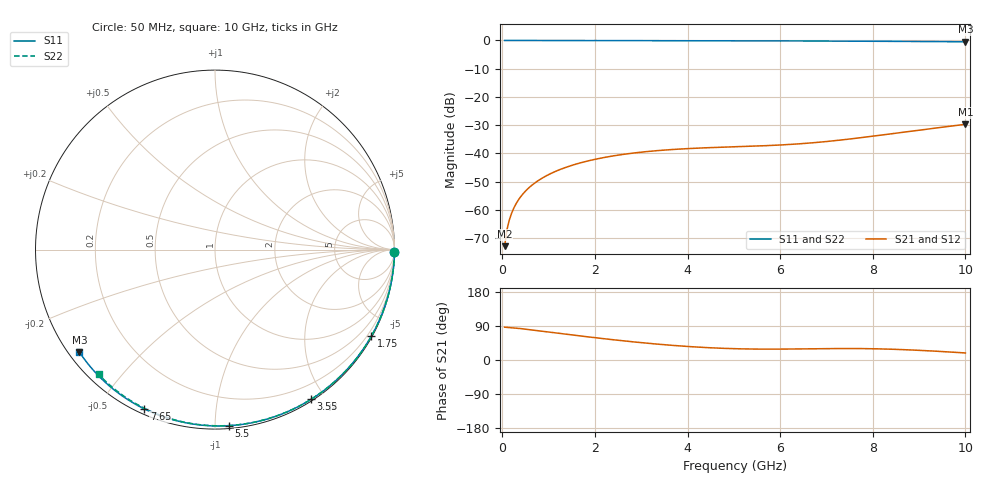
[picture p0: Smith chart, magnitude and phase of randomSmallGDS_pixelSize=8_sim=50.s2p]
! freq	dB(S11)	phase(S11)	dB(S12)	phase(S12)
!  dB(S21)	phase(S21)	dB(S22)	phase(S22)
!S-par simulation data
#  GHz  S  DB  R 50
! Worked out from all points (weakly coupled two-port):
!   200 points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, 50 MHz to 10 GHz, reference 50 ohm
!   highest |S21| = -29.72 dB at 10 GHz (marker M1); lowest = -72.9 dB at 50 MHz (marker M2)
!   lowest |S11| = -0.5 dB at 10 GHz (marker M3), VSWR 36.66, Z = 1.52 - j16.7 ohm
!   |S11| at or under -10 dB: nowhere
!   |S22| runs from -0.4 to 0.0 dB; largest |S21 - S12| = 0
!   S11 on the Smith chart (normalised r, x): 50 MHz: open; 1.75 GHz: 0.03, -3.86; 3.55 GHz: 0.02, -1.83; 5.5 GHz: 0.02, -1.08; 7.65 GHz: 0.02, -0.65; 10 GHz: 0.03, -0.33
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0.05  -0.00 -0.8  -72.90 86.6  -72.90 86.6  -0.00 -0.8
0.1  -0.00 -1.7  -67.14 86.1  -67.14 86.1  -0.00 -1.6
0.15  -0.00 -2.5  -63.71 85.8  -63.71 85.8  -0.00 -2.3
0.2  -0.00 -3.4  -61.26 85.4  -61.26 85.4  -0.00 -3.1
0.25  -0.00 -4.2  -59.35 84.8  -59.35 84.8  -0.00 -3.9
0.35  -0.00 -5.9  -56.46 83.5  -56.46 83.5  -0.00 -5.5
0.5  -0.01 -8.4  -53.40 81.4  -53.40 81.4  -0.01 -7.8
0.7  -0.01 -11.8  -50.53 78.4  -50.53 78.4  -0.01 -10.9
1  -0.02 -16.7  -47.54 73.8  -47.54 73.8  -0.02 -15.5
1.35  -0.03 -22.5  -45.10 68.4  -45.10 68.4  -0.03 -20.9
1.75  -0.04 -29.0  -43.10 62.5  -43.10 62.5  -0.03 -26.9
2.5  -0.05 -41.1  -40.64 52.1  -40.64 52.1  -0.05 -38.1
3.4  -0.07 -55.0  -38.97 41.3  -38.97 41.3  -0.07 -51.1
3.55  -0.08 -57.3  -38.78 39.8  -38.78 39.8  -0.07 -53.3
4.3  -0.10 -68.5  -38.10 33.5  -38.10 33.5  -0.09 -63.7
5.05  -0.12 -79.3  -37.66 29.7  -37.66 29.7  -0.11 -73.8
5.5  -0.14 -85.5  -37.41 28.8  -37.41 28.8  -0.13 -79.7
6.7  -0.20 -101.7  -36.27 29.7  -36.27 29.7  -0.18 -94.8
7.65  -0.26 -113.9  -34.64 30.2  -34.64 30.2  -0.24 -106.2
8.35  -0.31 -122.7  -33.18 28.7  -33.18 28.7  -0.29 -114.3
9.2  -0.39 -133.2  -31.36 24.3  -31.36 24.3  -0.36 -124.0
10  -0.47 -143.0  -29.72 18.6  -29.72 18.6  -0.44 -132.9
